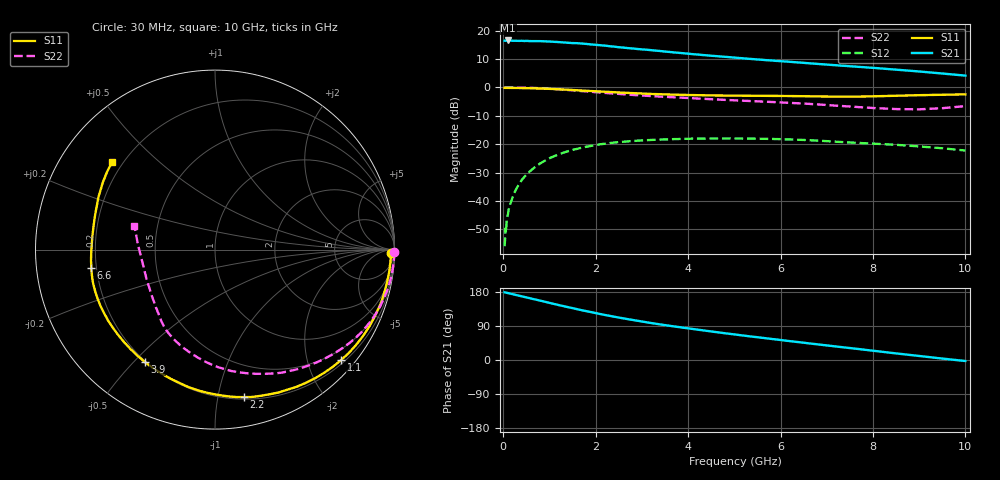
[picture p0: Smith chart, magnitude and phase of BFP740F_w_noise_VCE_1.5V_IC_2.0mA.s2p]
! Infineon Technologies  Discrete & RF Semiconductors
! BFP740F
! VCE =  1.5 V,  IC =  2.0 mA
! Common Emitter S-Parameters:  Oct 2012
# GHz  S  MA  R  50
!  f  S11  S21  S12  S22
! GHz  MAG  ANG  MAG  ANG  MAG  ANG  MAG  ANG
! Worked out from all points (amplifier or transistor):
!   99 points, 30 MHz to 10 GHz, reference 50 ohm
!   highest |S21| = 16.5 dB at 110 MHz (marker M1)
!   |S21| within 3 dB of that: start of sweep to 2.899 GHz
!   unconditionally stable (mu >= 1): 9.57 GHz to end of sweep
!   at 350 MHz: K = 0.00, MSG = 25.1 dB, |S12| = -33.9 dB
!   at 3.5 GHz: K = 0.22, MSG = 15.5 dB, |S12| = -18.3 dB
!   at 10 GHz: K = 1.07, MAG = 11.6 dB, |S12| = -22.2 dB
!   lowest NFmin = 0.37 dB at 450 MHz
!   S11 on the Smith chart (normalised r, x): 30 MHz: 52, -49; 1.1 GHz: 0.27, -2.63; 2.2 GHz: 0.22, -1.19; 3.9 GHz: 0.20, -0.54; 6.6 GHz: 0.18, -0.07; 10 GHz: 0.16, +0.36
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0.03  0.9799 -1.1  6.631 178.5  0.0016 92.2  0.9993 -0.8
0.05  0.9798 -1.8  6.686 178.2  0.0033 78.3  1 -1.4
0.06  0.9793 -2.3  6.644 177.9  0.0028 94.8  0.9985 -1.6
0.08  0.9806 -3.1  6.669 177.3  0.0048 93.5  0.9986 -2.2
0.11  0.9798 -4.2  6.7 176.4  0.0065 85.3  0.9984 -3.0
0.25  0.9765 -9.5  6.616 172.4  0.0144 84.2  0.9954 -6.8
0.45  0.9717 -17.0  6.548 166.6  0.0261 78.7  0.9885 -12.1
0.8  0.9551 -30.2  6.515 156.7  0.0458 69.7  0.9653 -21.5
1.1  0.934 -41.3  6.34 147.9  0.0614 61.6  0.9357 -29.6
1.7  0.8788 -62.6  5.91 131.3  0.0867 46.7  0.8604 -45.0
2.2  0.8377 -78.9  5.432 118.8  0.102 35.5  0.7989 -57.4
2.7  0.7991 -93.0  4.914 107.7  0.1122 25.9  0.7463 -68.0
3.4  0.7565 -111.0  4.366 93.8  0.1205 14.3  0.6877 -80.9
3.9  0.738 -122.1  3.987 85.2  0.1241 7.3  0.6563 -88.3
4.4  0.7238 -132.8  3.669 76.9  0.1256 0.7  0.6248 -95.4
5.1  0.7148 -146.6  3.292 66.0  0.1259 -7.8  0.5867 -104.6
5.8  0.7078 -158.6  2.976 55.6  0.1236 -15.8  0.5534 -113.7
6.6  0.6969 -171.7  2.664 44.1  0.1178 -24.7  0.5134 -123.8
6.7  0.6944 -173.4  2.627 42.7  0.1165 -25.8  0.5068 -125.0
7.6  0.6878 171.1  2.329 30.1  0.1061 -33.2  0.4549 -137.2
8.5  0.7122 155.8  2.051 17.4  0.0974 -40.0  0.4151 -156.8
10  0.7532 139.5  1.61 -2.7  0.0772 -50.0  0.4677 163.7
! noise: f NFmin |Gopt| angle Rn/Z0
0.45  0.37  0.55  9  0.3
0.9  0.44  0.56  17  0.26
1.5  0.55  0.55  27  0.24
1.9  0.63  0.52  37  0.24
2.4  0.73  0.49  45  0.24
3.5  0.95  0.44  70  0.23
5.5  1.33  0.35  115  0.23
10  2.08  0.52  -136  0.1
